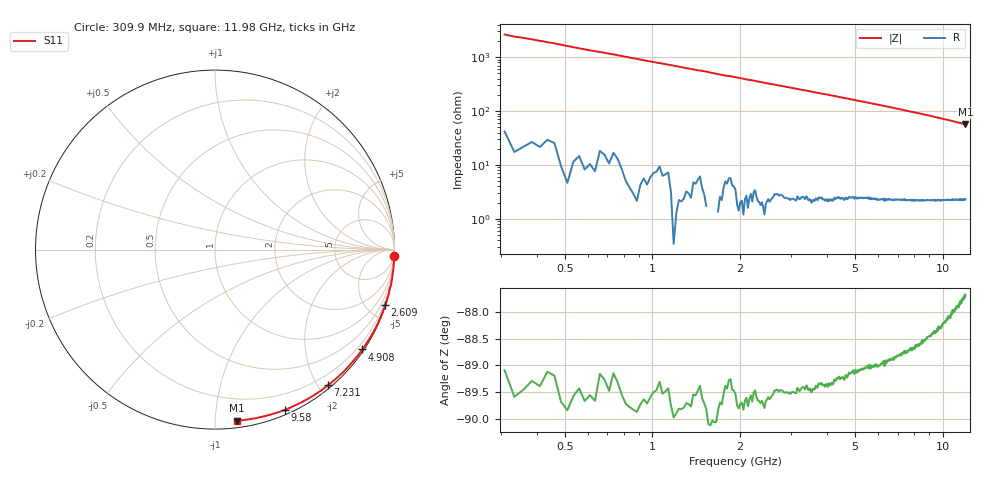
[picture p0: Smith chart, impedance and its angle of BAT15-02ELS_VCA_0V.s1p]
! Infineon Technologies  Discrete & RF Semiconductors
! BAT15-02ELS
! VCA = 0 V
! One-Port S-Parameters
# Hz  S  MA  R  50
!f  S11
!Hz  Mag  Ang
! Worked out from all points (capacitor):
!   468 points, 309.9 MHz to 11.98 GHz, reference 50 ohm
!   read as one part to ground: C = 194 fF near 359.8 MHz
!   lowest |Z| = 56.8 ohm at 11.98 GHz (marker M1)
!   S11 on the Smith chart (normalised r, x): 309.9 MHz: 1, -53; 2.609 GHz: 0.05, -6.26; 4.908 GHz: 0.05, -3.26; 7.231 GHz: 0.05, -2.13; 9.58 GHz: 0.04, -1.53; 11.98 GHz: 0.05, -1.13
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3.0985e8  0.9994 -2.2
4.098e8  0.9995 -2.8
1.2094e9  0.9997 -8.4
1.6092e9  1 -11.2
1.784112e9  0.9977 -12.5
1.90905e9  0.9979 -13.2
2.009e9  0.9988 -14.0
2.6087e9  0.9975 -18.1
3.233388e9  0.9964 -22.5
3.558225e9  0.996 -24.7
3.983012e9  0.9947 -27.7
4.70765e9  0.9926 -32.7
4.90755e9  0.9911 -34.1
5.682162e9  0.989 -39.5
6.156925e9  0.9879 -42.8
6.656675e9  0.9861 -46.3
7.231388e9  0.9835 -50.2
7.6062e9  0.9825 -52.8
8.180912e9  0.9801 -56.9
8.380812e9  0.9794 -58.2
8.580712e9  0.978 -59.6
9.080462e9  0.976 -63.0
9.580212e9  0.9733 -66.5
9.855075e9  0.9725 -68.3
1.052974e10  0.9685 -72.9
1.130435e10  0.9644 -78.2
1.192904e10  0.9614 -82.5
1.197901e10  0.9605 -82.8
